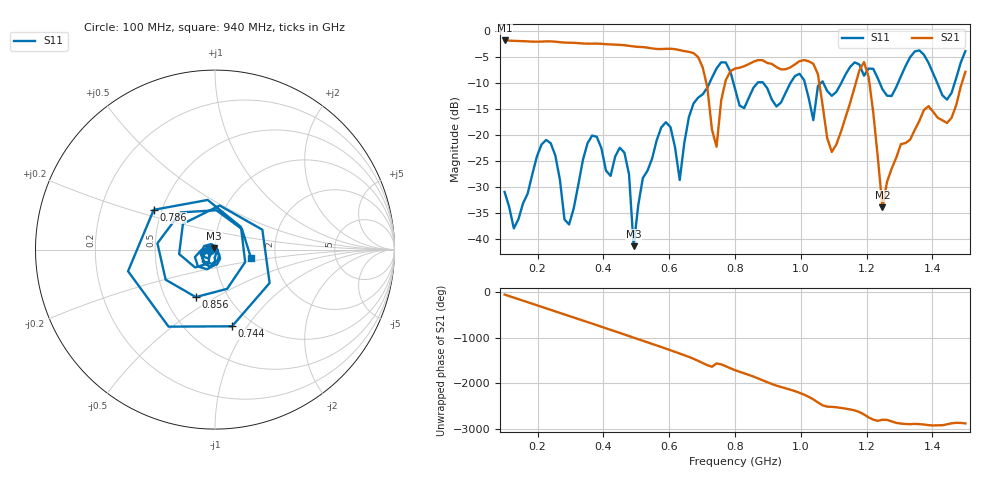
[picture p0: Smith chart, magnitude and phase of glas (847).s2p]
! NanoVNA-App
! Date: 2025-09-25 16:02:04
! Start: 100MHz Stop: 1,5GHz Points: 101
! S-Parameter data: F S11 S21 S12 S22
# Hz S RI R 50
!  Frequency  S11_Real  S11_Imag  S21_Real  S21_Imag  S12_Real  S12_Imag  S22_Real  S22_Imag
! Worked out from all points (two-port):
!   101 points, 100 MHz to 1.5 GHz, reference 50 ohm
!   highest |S21| = -1.80 dB at 100 MHz (marker M1); lowest = -33.9 dB at 1.248 GHz (marker M2)
!   |S21| within 3 dB of the highest: start of sweep to 684.4 MHz
!   lowest |S11| = -41.3 dB at 492 MHz (marker M3), VSWR 1.02, Z = 49.5 + j0.665 ohm
!   |S11| at or under -10 dB: start of sweep to 722.4 MHz; 795.4 MHz to 867.9 MHz (72.49 MHz wide, 8.72 % of centre); 886.1 MHz to 968.2 MHz (82.09 MHz wide, 8.85 % of centre) (the widest 3 of 7)
!   S12 and S22 are empty: the file has one direction only
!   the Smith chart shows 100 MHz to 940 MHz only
!   S11 on the Smith chart (normalised r, x): 100 MHz: 0.94, -0.01; 744 MHz: 0.81, -0.85; 786 MHz: 0.45, +0.24; 856 MHz: 0.71, -0.41; 940 MHz: 1.49, -0.15
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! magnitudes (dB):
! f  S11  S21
! 100 MHz  -30.9  -1.8
! 128 MHz  -37.9  -1.9
! 226 MHz  -20.9  -2.0
! 296 MHz  -37.2  -2.2
! 338 MHz  -24.7  -2.4
! 464 MHz  -23.4  -2.7
! 492 MHz  -41.3  -3.0
! 576 MHz  -18.5  -3.5
! 632 MHz  -28.6  -3.7
! 702 MHz  -12.1  -7.0
! 744 MHz  -7.2  -22.2
! 786 MHz  -7.8  -7.7
! 800 MHz  -11.1  -7.2
! 856 MHz  -10.9  -5.9
! 940 MHz  -13.7  -7.4
! 996 MHz  -8.2  -5.8
! 1.038 GHz  -17.1  -6.3
! 1.094 GHz  -12.4  -23.2
! 1.192 GHz  -8.6  -6.0
! 1.248 GHz  -11.2  -33.9
! 1.276 GHz  -12.5  -26.4
! 1.5 GHz  -3.9  -7.8
